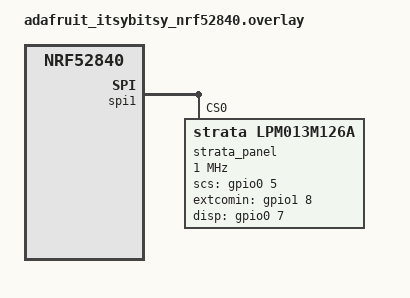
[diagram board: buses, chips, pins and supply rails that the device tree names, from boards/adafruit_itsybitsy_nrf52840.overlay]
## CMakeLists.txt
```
cmake_minimum_required(VERSION 3.20.0)

list(APPEND DTS_ROOT ${CMAKE_CURRENT_SOURCE_DIR})
find_package(Zephyr REQUIRED HINTS $ENV{ZEPHYR_BASE})
project(ae1200_emulator)

target_sources(app PRIVATE
    src/main.c
    src/lpm013m126a.c
    ../core/src/strata_display.c
    ../core/src/strata_jdi.c
)

target_include_directories(app PRIVATE
    src
    ../core/include
)
```

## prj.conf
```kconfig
CONFIG_GPIO=y
CONFIG_SPI=y
CONFIG_PRINTK=y
CONFIG_MAIN_STACK_SIZE=2048
CONFIG_USB_DEVICE_STACK=y
CONFIG_USB_DEVICE_INITIALIZE_AT_BOOT=y
CONFIG_USB_DEVICE_PRODUCT="AE1200 Strata Demo"
```

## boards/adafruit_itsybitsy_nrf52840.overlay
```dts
&spi1 {
	status = "okay";

	strata_panel: lpm013m126a@0 {
		compatible = "strata,lpm013m126a";
		reg = <0>;
		spi-max-frequency = <1000000>;
		scs-gpios = <&gpio0 5 GPIO_ACTIVE_HIGH>;
		extcomin-gpios = <&gpio1 8 GPIO_ACTIVE_HIGH>;
		disp-gpios = <&gpio0 7 GPIO_ACTIVE_HIGH>;
		extcomin-frequency = <1>;
		status = "okay";
	};
};
```

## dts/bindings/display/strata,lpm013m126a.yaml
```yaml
description: Japan Display LPM013M126A SPI memory-in-pixel panel

compatible: "strata,lpm013m126a"

include: spi-device.yaml

properties:
  scs-gpios:
    type: phandle-array
    required: true
    description: Active-high panel chip select controlled by this driver

  disp-gpios:
    type: phandle-array
    required: true
    description: Active-high display enable

  extcomin-gpios:
    type: phandle-array
    required: true
    description: External COM inversion input; EXTMODE must be tied high

  extcomin-frequency:
    type: int
    required: true
    description: EXTCOMIN square-wave frequency in hertz
```

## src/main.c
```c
#include <zephyr/devicetree.h>
#include <zephyr/kernel.h>
#include <zephyr/sys/printk.h>

#include "lpm013m126a.h"
#include "strata_display.h"

#define PANEL_NODE DT_NODELABEL(strata_panel)

static struct strata_lpm013m126a panel = STRATA_LPM013M126A_DT_SPEC_GET(PANEL_NODE);
static uint8_t framebuffer[STRATA_FRAME_BYTES];

int main(void)
{
	int result;
	uint32_t started;
	uint32_t last_report_ms = 0;
	uint32_t frames = 0;

	result = strata_lpm013m126a_init(&panel);
	if (result < 0) {
		printk("LPM013M126A initialization failed: %d\n", result);
		return result;
	}

	printk("AE1200 animated classic face started\n");
	started = k_uptime_get_32();
	for (;;) {
		uint32_t elapsed_ms = k_uptime_get_32() - started;
		strata_render(framebuffer, 0, elapsed_ms);
		result = strata_lpm013m126a_write_frame(&panel, framebuffer);
		if (result < 0) {
			printk("LPM013M126A frame write failed: %d\n", result);
			return result;
		}
		++frames;
		if (elapsed_ms - last_report_ms >= 4000u) {
			printk("AE1200 demo: elapsed=%u ms, frames=%u, RGB111 white background\n",
			       (unsigned int)elapsed_ms, (unsigned int)frames);
			last_report_ms = elapsed_ms;
		}
		k_sleep(K_MSEC(20));
	}
}
```

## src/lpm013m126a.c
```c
#include "lpm013m126a.h"

#include <errno.h>

#include <zephyr/sys/util.h>

#include "strata_jdi.h"

#define SCS_LOW_US 6u
#define SCS_SETUP_US 6u
#define SCS_HOLD_US 2u
#define POWER_CLEAR_MS 1u
#define LATCH_RELEASE_US 30u
#define DISPLAY_COM_START_US 100u

static void extcomin_toggle(struct k_timer *timer)
{
	struct strata_lpm013m126a *panel =
		CONTAINER_OF(timer, struct strata_lpm013m126a, extcomin_timer);

	panel->extcomin_high = !panel->extcomin_high;
	(void)gpio_pin_set_dt(&panel->extcomin, panel->extcomin_high);
}

static int transfer(struct strata_lpm013m126a *panel, const uint8_t *data, size_t length)
{
	struct spi_buf buffer = {.buf = (void *)data, .len = length};
	struct spi_buf_set buffers = {.buffers = &buffer, .count = 1};
	int result;

	k_busy_wait(SCS_LOW_US);
	result = gpio_pin_set_dt(&panel->scs, 1);
	if (result < 0) return result;
	k_busy_wait(SCS_SETUP_US);

	result = spi_write_dt(&panel->bus, &buffers);
	k_busy_wait(SCS_HOLD_US);
	if (gpio_pin_set_dt(&panel->scs, 0) < 0 && result == 0) result = -EIO;
	return result;
}

static int all_clear(struct strata_lpm013m126a *panel)
{
	uint8_t packet[STRATA_JDI_CLEAR_PACKET_BYTES];
	int length = strata_jdi_encode_all_clear(packet, sizeof(packet));
	if (length < 0) return -EINVAL;
	return transfer(panel, packet, (size_t)length);
}

int strata_lpm013m126a_init(struct strata_lpm013m126a *panel)
{
	int result;

	if (!panel || panel->extcomin_frequency == 0u) return -EINVAL;
	if (!spi_is_ready_dt(&panel->bus) || !gpio_is_ready_dt(&panel->scs) ||
	    !gpio_is_ready_dt(&panel->disp) || !gpio_is_ready_dt(&panel->extcomin)) {
		return -ENODEV;
	}

	result = gpio_pin_configure_dt(&panel->scs, GPIO_OUTPUT_INACTIVE);
	if (result < 0) return result;
	result = gpio_pin_configure_dt(&panel->disp, GPIO_OUTPUT_INACTIVE);
	if (result < 0) return result;
	result = gpio_pin_configure_dt(&panel->extcomin, GPIO_OUTPUT_INACTIVE);
	if (result < 0) return result;

	result = all_clear(panel);
	if (result < 0) return result;
	k_msleep(POWER_CLEAR_MS);
	k_busy_wait(LATCH_RELEASE_US);

	k_timer_init(&panel->extcomin_timer, extcomin_toggle, NULL);
	panel->extcomin_high = true;
	result = gpio_pin_set_dt(&panel->disp, 1);
	if (result < 0) return result;
	result = gpio_pin_set_dt(&panel->extcomin, 1);
	if (result < 0) {
		(void)gpio_pin_set_dt(&panel->disp, 0);
		return result;
	}
	k_busy_wait(DISPLAY_COM_START_US);

	uint32_t half_period_ms = 500u / panel->extcomin_frequency;
	if (half_period_ms == 0u) half_period_ms = 1u;
	k_timer_start(&panel->extcomin_timer, K_MSEC(half_period_ms), K_MSEC(half_period_ms));
	panel->initialized = true;
	return 0;
}

int strata_lpm013m126a_write_frame(struct strata_lpm013m126a *panel,
				   const uint8_t *frame)
{
	uint8_t packet[STRATA_JDI_LINE_PACKET_BYTES];

	if (!panel || !frame || !panel->initialized) return -EINVAL;
	for (unsigned int line = 0; line < STRATA_HEIGHT; ++line) {
		int length = strata_jdi_encode_line(frame, line, packet, sizeof(packet));
		if (length < 0) return -EINVAL;
		int result = transfer(panel, packet, (size_t)length);
		if (result < 0) return result;
	}
	return 0;
}

int strata_lpm013m126a_shutdown(struct strata_lpm013m126a *panel)
{
	int result;

	if (!panel || !panel->initialized) return -EINVAL;
	result = all_clear(panel);
	k_msleep(POWER_CLEAR_MS);
	k_timer_stop(&panel->extcomin_timer);
	(void)gpio_pin_set_dt(&panel->extcomin, 0);
	(void)gpio_pin_set_dt(&panel->disp, 0);
	panel->initialized = false;
	return result;
}
```

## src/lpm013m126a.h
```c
#ifndef STRATA_LPM013M126A_H
#define STRATA_LPM013M126A_H

#include <stdbool.h>
#include <stdint.h>

#include <zephyr/drivers/gpio.h>
#include <zephyr/drivers/spi.h>
#include <zephyr/kernel.h>

struct strata_lpm013m126a {
	struct spi_dt_spec bus;
	struct gpio_dt_spec scs;
	struct gpio_dt_spec disp;
	struct gpio_dt_spec extcomin;
	struct k_timer extcomin_timer;
	uint32_t extcomin_frequency;
	bool extcomin_high;
	bool initialized;
};

#define STRATA_LPM013M126A_DT_SPEC_GET(node_id)                                      \
	{                                                                              \
		.bus = SPI_DT_SPEC_GET(node_id, SPI_OP_MODE_MASTER | SPI_WORD_SET(8) | \
						  SPI_TRANSFER_MSB, 0),                       \
		.scs = GPIO_DT_SPEC_GET(node_id, scs_gpios),                                \
		.disp = GPIO_DT_SPEC_GET(node_id, disp_gpios),                              \
		.extcomin = GPIO_DT_SPEC_GET(node_id, extcomin_gpios),                      \
		.extcomin_frequency = DT_PROP(node_id, extcomin_frequency),                 \
	}

int strata_lpm013m126a_init(struct strata_lpm013m126a *panel);
int strata_lpm013m126a_write_frame(struct strata_lpm013m126a *panel,
				   const uint8_t *frame);
int strata_lpm013m126a_shutdown(struct strata_lpm013m126a *panel);

#endif
```
